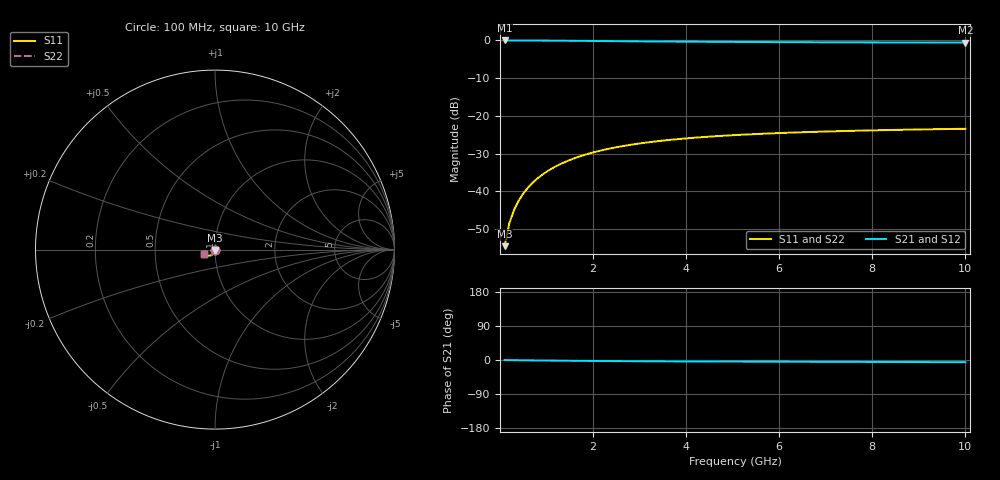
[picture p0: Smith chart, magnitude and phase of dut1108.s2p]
! Touchstone file exported from HFSS 2024.1.0
!  File:  C:/UserFiles/LocalFiles/RDL_TSV_Batchsim/temp_TSV1_1108_1780068027.aedt
!  Generated:  11:24:51 PM May 29, 2026
!  Design:  TSV1
!  Project:  temp_TSV1_1108_1780068027
!  Setup:  Setup1
!  Solution:  Sweep
! Variables:
!  dtsv = 13.3um
!  hbump = 3um
!  htsv = 88.65um
!  lrdl = 252.1521522um
!  p = 40
!  p1 = 46.45um
!  t = 500um
!  trdl = 3um
!  wrdl = 24.89489489um
# GHz S MA R 50.000000
! Terminal data exported
! Port[1] = TSV22_T1
! Port[2] = TSV22_T2
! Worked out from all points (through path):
!   100 points, 100 MHz to 10 GHz, reference 50 ohm
!   highest |S21| = 0.00 dB at 100 MHz (marker M1); lowest = -0.6 dB at 10 GHz (marker M2)
!   lowest |S11| = -54.6 dB at 100 MHz (marker M3), VSWR 1.00, Z = 50 - j0.187 ohm
!   |S11| at or under -10 dB: start of sweep to end of sweep
!   |S22| runs from -54.6 to -23.4 dB; largest |S21 - S12| = 4.2e-15
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0.1  0.001869 -88.7  0.9998 -0.2  0.9998 -0.2  0.001869 -88.7
! Gamma 0 0 0 0
! Port Impedance 50 0 50 0
0.2  0.003736 -91.6  0.9997 -0.3  0.9997 -0.3  0.003736 -91.6
0.3  0.005601 -93.6  0.9994 -0.5  0.9994 -0.5  0.005601 -93.6
0.4  0.007459 -95.4  0.999 -0.6  0.999 -0.6  0.007459 -95.4
0.5  0.009301 -97.2  0.9985 -0.8  0.9985 -0.8  0.009301 -97.2
0.6  0.01112 -98.9  0.998 -0.9  0.998 -0.9  0.01112 -98.9
0.7  0.01292 -100.5  0.9973 -1.0  0.9973 -1.0  0.01292 -100.5
0.8  0.01468 -102.1  0.9966 -1.2  0.9966 -1.2  0.01468 -102.1
0.9  0.01641 -103.7  0.9958 -1.3  0.9958 -1.3  0.01641 -103.7
1.1  0.01976 -106.8  0.9941 -1.6  0.9941 -1.6  0.01976 -106.8
1.4  0.02447 -111.1  0.991 -1.9  0.991 -1.9  0.02447 -111.1
1.6  0.02739 -113.8  0.9888 -2.1  0.9888 -2.1  0.02739 -113.8
1.8  0.03012 -116.4  0.9866 -2.3  0.9866 -2.3  0.03012 -116.4
2.1  0.0339 -120.0  0.9831 -2.6  0.9831 -2.6  0.0339 -120.0
2.5  0.03834 -124.4  0.9785 -2.9  0.9785 -2.9  0.03834 -124.4
2.9  0.04217 -128.3  0.9742 -3.2  0.9742 -3.2  0.04217 -128.3
3.4  0.04622 -132.6  0.9691 -3.5  0.9691 -3.5  0.04622 -132.6
4.2  0.05139 -138.3  0.9621 -3.8  0.9621 -3.8  0.05139 -138.3
5.1  0.05577 -143.5  0.9558 -4.2  0.9558 -4.2  0.05577 -143.5
6.7  0.06119 -150.5  0.9473 -4.7  0.9473 -4.7  0.06119 -150.5
8.4  0.06495 -156.0  0.9412 -5.2  0.9412 -5.2  0.06495 -156.0
10  0.06737 -160.0  0.937 -5.7  0.937 -5.7  0.06737 -160.0
